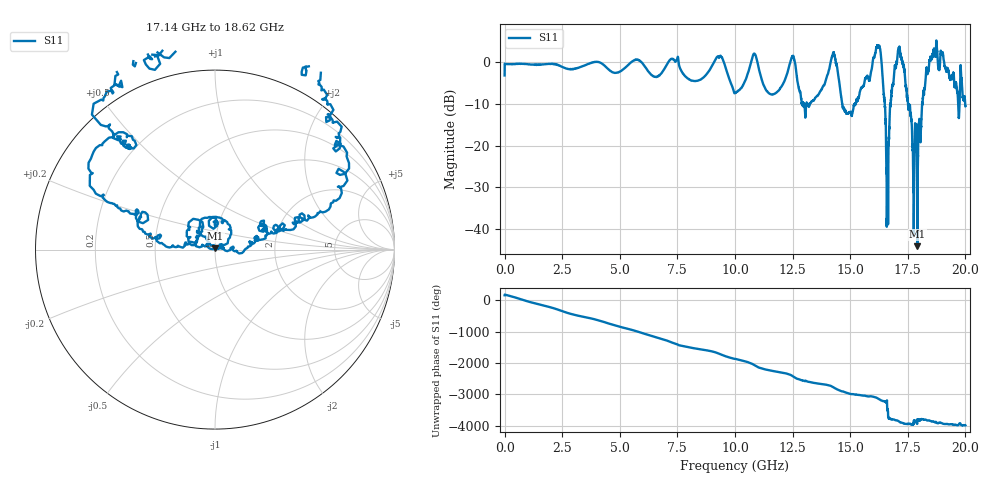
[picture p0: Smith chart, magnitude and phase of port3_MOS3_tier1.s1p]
! Created with skrf 1.8.0 (http://scikit-rf.org).
# GHz S RI R 50.0
!freq ReS11 ImS11
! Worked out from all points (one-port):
!   10001 points, 1 MHz to 20 GHz, reference 50 ohm
!   lowest |S11| = -44.1 dB at 17.91 GHz (marker M1), VSWR 1.01, Z = 50.1 + j0.615 ohm
!   |S11| at or under -10 dB: 14.66 GHz to 15.18 GHz (521.5 MHz wide, 3.5 % of centre); 16.5 GHz to 16.74 GHz (237.6 MHz wide, 1.43 % of centre); 17.55 GHz to 18.12 GHz (570.4 MHz wide, 3.2 % of centre) (the widest 3 of 20)
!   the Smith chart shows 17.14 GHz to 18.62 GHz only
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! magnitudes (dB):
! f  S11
! 1 MHz  -3.1
! 2.501 GHz  -1.1
! 5.001 GHz  -2.2
! 7.501 GHz  0.9
! 8.309 GHz  -4.4
! 9.361 GHz  1.6
! 10 GHz  -7.4
! 10.82 GHz  2.1
! 11.6 GHz  -7.7
! 12.5 GHz  1.5
! 13.12 GHz  -9.6
! 14.29 GHz  2.4
! 14.7 GHz  -10.7
! 15 GHz  -12.0
! 16.21 GHz  3.9
! 16.38 GHz  -1.3
! 16.62 GHz  -21.8
! 16.82 GHz  -5.9
! 17.08 GHz  2.7
! 17.25 GHz  0.3
! 17.5 GHz  -9.0
! 17.71 GHz  -20.2
! 17.83 GHz  -16.2
! 17.91 GHz  -44.1
! 18 GHz  -13.6
! 18.26 GHz  -4.7
! 18.68 GHz  1.8
! 20 GHz  -10.6
